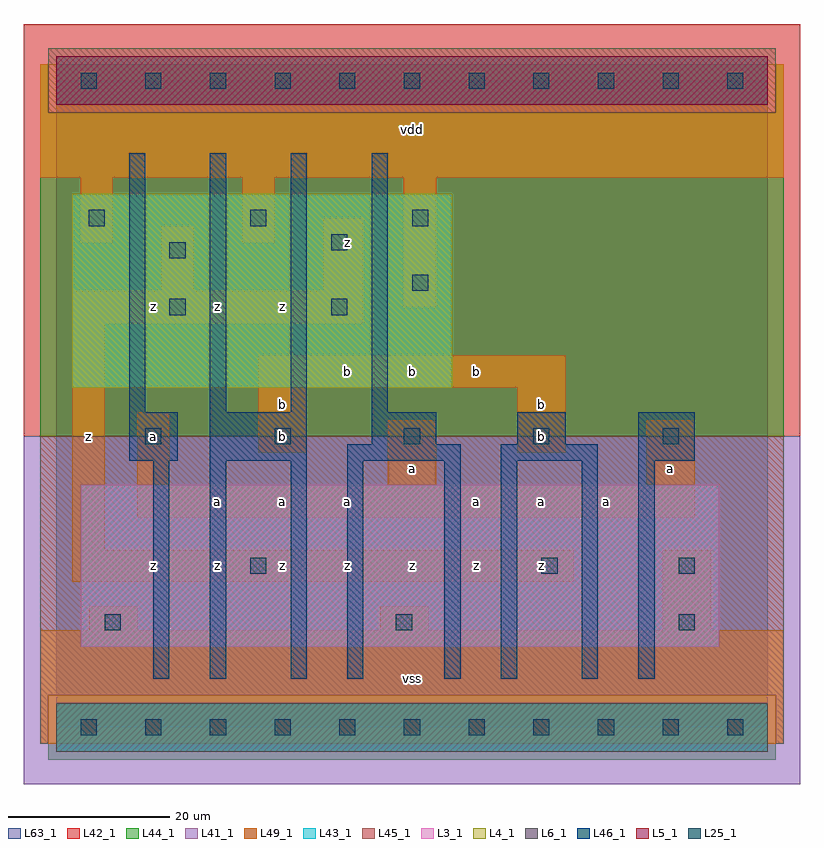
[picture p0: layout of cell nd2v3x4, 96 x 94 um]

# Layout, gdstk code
import gdstk
lib = gdstk.Library(unit=1e-6, precision=1e-09)
def R(c, l, rs):  # rectangles x0, y0, x1, y1
    for r in rs: c.add(gdstk.rectangle(r[:2], r[2:], *l))
def A(c, l, x, y, w, h, nx, ny, dx, dy):  # array of equal rectangles
    R(c, l, [(x+i*dx, y+j*dy, x+i*dx+w, y+j*dy+h) for i in range(nx) for j in range(ny)])
L3_1 = (3, 1)
L4_1 = (4, 1)
L5_1 = (5, 1)
L6_1 = (6, 1)
L25_1 = (25, 1)
L41_1 = (41, 1)
L42_1 = (42, 1)
L43_1 = (43, 1)
L44_1 = (44, 1)
L45_1 = (45, 1)
L46_1 = (46, 1)
L49_1 = (49, 1)
L63_1 = (63, 1)

nd2v3x4 = lib.new_cell('nd2v3x4')
R(nd2v3x4, L3_1, [(3,10,82,30)])
R(nd2v3x4, L4_1, [(2,42,49,66)])
R(nd2v3x4, L5_1, [(0,77,88,83)])
R(nd2v3x4, L6_1, [(0,-3,88,3), (0,-3,88,3)])
A(nd2v3x4, L25_1, 3, -1, 2, 2, 11, 2, 8, 80)
A(nd2v3x4, L25_1, 11, 35, 2, 2, 5, 1, 16, 0)
A(nd2v3x4, L25_1, 4, 62, 2, 2, 3, 1, 20, 0)
R(nd2v3x4, L25_1, [(6,12,8,14), (42,12,44,14), (77,12,79,14), (24,19,26,21), (60,19,62,21), (77,19,79,21), (14,51,16,53), (34,51,36,53), (44,54,46,56), (14,58,16,60), (34,59,36,61)])
R(nd2v3x4, L41_1, [(-4,-7,92,36)])
R(nd2v3x4, L42_1, [(-4,36,92,87)])
R(nd2v3x4, L43_1, [(0,-3,88,3), (3,10,82,30), (2,42,49,66), (0,77,88,83)])
R(nd2v3x4, L44_1, [(-1,-4,89,4), (-2,36,90,76), (-2,76,-1,82), (89,76,90,82)])
R(nd2v3x4, L45_1, [(-2,-2,-1,4), (89,-2,90,4), (-2,4,90,36), (-1,76,89,84)])
A(nd2v3x4, L46_1, 9, 39, 2, 32, 4, 1, 10, 0)
R(nd2v3x4, L46_1, [(12,6,14,33), (19,6,21,33), (29,6,31,33), (36,6,38,33), (48,6,50,33), (55,6,57,33), (65,6,67,33), (72,6,74,33), (9,33,15,39), (19,33,31,39), (36,33,50,35), (55,33,67,35), (72,33,79,39), (39,35,47,39), (57,35,63,39)])
R(nd2v3x4, L49_1, [(-2,-2,90,12), (4,12,10,15), (40,12,46,15), (75,12,81,22), (2,18,64,22), (2,22,6,50), (10,26,79,30), (10,30,14,39), (41,30,47,38), (73,30,79,38), (25,34,31,42), (57,34,63,42), (25,42,63,46), (2,50,38,54), (43,52,47,68), (13,54,17,62), (33,54,38,63), (3,60,7,68), (23,60,27,68), (-2,68,90,82)])
R(nd2v3x4, L63_1, [(0,0,88,80)])
nd2v3x4.add(gdstk.Label('z', (12,20), layer=49, texttype=1))
nd2v3x4.add(gdstk.Label('a', (12,36), layer=49, texttype=1))
nd2v3x4.add(gdstk.Label('z', (4,36), layer=49, texttype=1))
nd2v3x4.add(gdstk.Label('z', (12,52), layer=49, texttype=1))
nd2v3x4.add(gdstk.Label('z', (20,20), layer=49, texttype=1))
nd2v3x4.add(gdstk.Label('a', (20,28), layer=49, texttype=1))
nd2v3x4.add(gdstk.Label('z', (28,20), layer=49, texttype=1))
nd2v3x4.add(gdstk.Label('a', (28,28), layer=49, texttype=1))
nd2v3x4.add(gdstk.Label('b', (28,36), layer=49, texttype=1))
nd2v3x4.add(gdstk.Label('b', (28,40), layer=49, texttype=1))
nd2v3x4.add(gdstk.Label('z', (20,52), layer=49, texttype=1))
nd2v3x4.add(gdstk.Label('z', (28,52), layer=49, texttype=1))
nd2v3x4.add(gdstk.Label('vss', (44,6), layer=49, texttype=1))
nd2v3x4.add(gdstk.Label('z', (36,20), layer=49, texttype=1))
nd2v3x4.add(gdstk.Label('a', (36,28), layer=49, texttype=1))
nd2v3x4.add(gdstk.Label('z', (44,20), layer=49, texttype=1))
nd2v3x4.add(gdstk.Label('a', (44,32), layer=49, texttype=1))
nd2v3x4.add(gdstk.Label('b', (36,44), layer=49, texttype=1))
nd2v3x4.add(gdstk.Label('b', (44,44), layer=49, texttype=1))
nd2v3x4.add(gdstk.Label('z', (36,60), layer=49, texttype=1))
nd2v3x4.add(gdstk.Label('vdd', (44,74), layer=49, texttype=1))
nd2v3x4.add(gdstk.Label('z', (52,20), layer=49, texttype=1))
nd2v3x4.add(gdstk.Label('a', (52,28), layer=49, texttype=1))
nd2v3x4.add(gdstk.Label('z', (60,20), layer=49, texttype=1))
nd2v3x4.add(gdstk.Label('a', (60,28), layer=49, texttype=1))
nd2v3x4.add(gdstk.Label('a', (68,28), layer=49, texttype=1))
nd2v3x4.add(gdstk.Label('b', (52,44), layer=49, texttype=1))
nd2v3x4.add(gdstk.Label('b', (60,36), layer=49, texttype=1))
nd2v3x4.add(gdstk.Label('b', (60,40), layer=49, texttype=1))
nd2v3x4.add(gdstk.Label('a', (76,32), layer=49, texttype=1))

lib.write_gds('nd2v3x4.gds')
